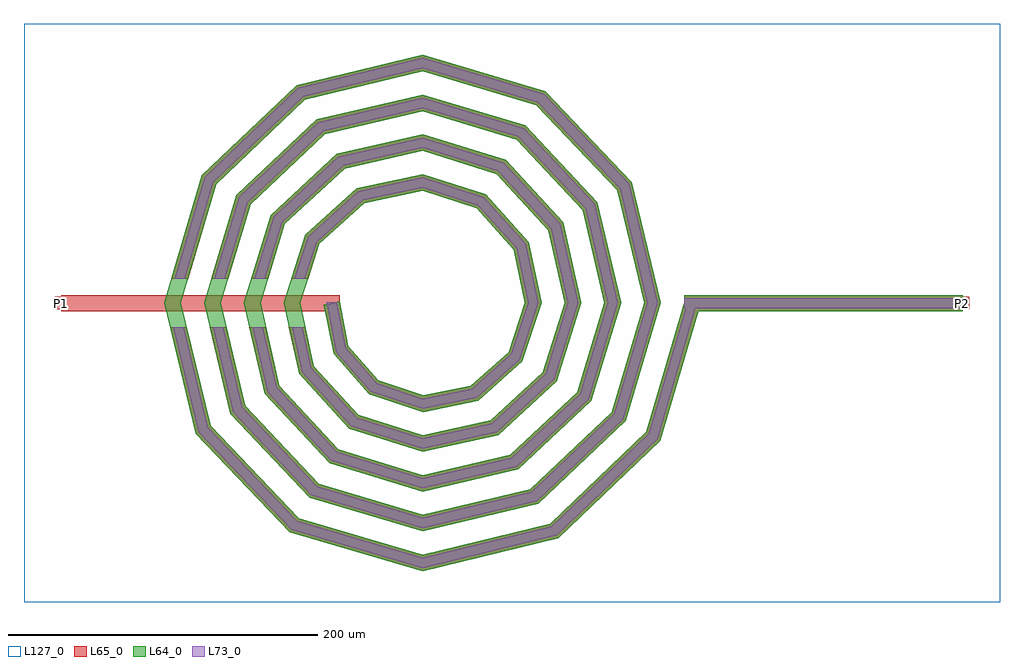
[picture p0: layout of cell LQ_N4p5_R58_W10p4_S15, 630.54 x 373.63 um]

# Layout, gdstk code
import gdstk
lib = gdstk.Library(unit=1e-6, precision=1e-09)
def R(c, l, rs):  # rectangles x0, y0, x1, y1
    for r in rs: c.add(gdstk.rectangle(r[:2], r[2:], *l))
def P(c, l, *ps):  # polygons
    for p in ps: c.add(gdstk.Polygon(p, *l))
L64_0 = (64, 0)
L65_0 = (65, 0)
L73_0 = (73, 0)
L127_0 = (127, 0)

lq_n4p5_r58_w10p4_s15 = lib.new_cell('LQ_N4p5_R58_W10p4_S15')
R(lq_n4p5_r58_w10p4_s15, L64_0, [(169.078,-5.2,349.078,5.2)])
P(lq_n4p5_r58_w10p4_s15, L64_0, [(-47.83,-28.022),(-28.491,-50.031),(0.33,-59.714),(31.204,-53.408),(55.576,-31.729),(66.135,0.3),(58.983,34.391),(34.963,61.124),(0.276,72.557),(-37.581,64.556),(-66.675,38.193),(-78.979,0.255),(-70.128,-40.775),(-41.42,-72.227),(0.237,-85.401),(43.971,-75.698),(77.781,-44.646),(91.824,0.221),(81.268,47.17),(47.869,83.336),(0.207,98.246),(-50.37,86.836),(-88.891,51.091),(-104.669,0.195),(-92.404,-53.571),(-54.312,-94.448),(0.185,-111.091),(56.773,-97.971),(100.005,-57.532),(117.514,0.175),(103.538,59.976),(60.751,105.563),(0.166,123.937),(-63.18,109.105),(-111.121,63.97),(-130.359,0.158),(-114.671,-66.385),(-67.188,-116.679),(0.151,-136.782),(69.591,-120.236),(122.238,-70.405),(143.205,0.145),(125.802,72.796),(73.621,127.797),(0.139,149.627),(-76.003,131.367),(-133.357,76.838),(-156.05,0.133),(-136.932,-79.21),(-80.054,-138.917),(0.128,-162.473),(82.417,-142.497),(144.477,-83.269),(169.288,1.461),(179.269,-1.461),(153.674,-88.868),(87.58,-151.945),(0.128,-173.237),(-85.661,-148.109),(-146.385,-84.364),(-166.814,0.133),(-142.544,82.454),(-81.148,140.826),(0.139,160.391),(79.247,136.979),(135.266,77.931),(153.968,0.145),(131.413,-76.041),(74.714,-129.707),(0.151,-147.545),(-72.835,-125.847),(-124.147,-71.497),(-141.122,0.158),(-120.281,69.63),(-68.278,118.589),(0.166,134.699),(66.425,114.714),(113.03,65.06),(128.276,0.175),(109.147,-63.222),(61.84,-107.472),(0.185,-121.853),(-60.019,-103.579),(-101.915,-58.619),(-115.429,0.195),(-98.011,56.817),(-55.398,96.358),(0.207,109.006),(53.616,92.442),(90.802,52.175),(102.583,0.221),(86.872,-50.417),(48.95,-85.246),(0.237,-96.159),(-47.219,-81.301),(-79.692,-45.723),(-89.736,0.255),(-75.728,44.024),(-42.494,74.139),(0.276,83.312),(40.831,70.154),(68.587,39.262),(76.888,0.3),(64.578,-37.641),(36.026,-63.038),(0.33,-70.464),(-34.456,-58.998),(-57.49,-32.784),(-63.767,-1.008),(-53.564,1.008)])
R(lq_n4p5_r58_w10p4_s15, L65_0, [(-233.466,-5.2,-53.466,5.2), (169.078,-5.2,349.078,5.2), (-237.466,-4,-229.466,4), (345.078,-4,353.078,4)])
P(lq_n4p5_r58_w10p4_s15, L65_0, [(-136.932,-79.21),(-80.054,-138.917),(0.128,-162.473),(82.417,-142.497),(144.477,-83.269),(169.288,1.461),(179.269,-1.461),(153.674,-88.868),(87.58,-151.945),(0.128,-173.237),(-85.661,-148.109),(-146.385,-84.364),(-163.011,-15.6),(-152.311,-15.6)],
  [(-114.671,-66.385),(-67.188,-116.679),(0.151,-136.782),(69.591,-120.236),(122.238,-70.405),(143.205,0.145),(125.802,72.796),(73.622,127.798),(0.139,149.628),(-76.003,131.367),(-133.357,76.838),(-151.412,15.6),(-162.254,15.6),(-142.544,82.454),(-81.148,140.826),(0.139,160.391),(79.247,136.979),(135.266,77.931),(153.968,0.145),(131.413,-76.041),(74.714,-129.707),(0.151,-147.545),(-72.835,-125.847),(-124.148,-71.497),(-137.389,-15.6),(-126.701,-15.6)],
  [(-92.404,-53.571),(-54.312,-94.448),(0.185,-111.091),(56.773,-97.971),(100.005,-57.532),(117.514,0.175),(103.538,59.976),(60.751,105.563),(0.166,123.937),(-63.18,109.105),(-111.121,63.97),(-125.632,15.6),(-136.49,15.6),(-120.281,69.63),(-68.278,118.589),(0.166,134.699),(66.425,114.714),(113.03,65.06),(128.276,0.175),(109.147,-63.222),(61.84,-107.472),(0.185,-121.853),(-60.019,-103.579),(-101.915,-58.619),(-111.8,-15.6),(-101.129,-15.6)],
  [(-70.128,-40.775),(-41.42,-72.227),(0.237,-85.401),(43.971,-75.698),(77.781,-44.646),(91.824,0.221),(81.268,47.17),(47.869,83.336),(0.207,98.246),(-50.37,86.836),(-88.891,51.091),(-99.81,15.6),(-110.691,15.6),(-98.011,56.817),(-55.398,96.358),(0.207,109.006),(53.616,92.442),(90.802,52.175),(102.583,0.221),(86.872,-50.417),(48.95,-85.246),(0.237,-96.159),(-47.219,-81.301),(-79.692,-45.723),(-86.272,-15.6),(-75.627,-15.6)],
  [(-28.491,-50.031),(0.33,-59.714),(31.204,-53.408),(55.576,-31.729),(66.135,0.3),(58.983,34.391),(34.963,61.124),(0.276,72.557),(-37.581,64.556),(-66.675,38.193),(-73.905,15.6),(-84.825,15.6),(-75.728,44.024),(-42.494,74.139),(0.276,83.312),(40.831,70.154),(68.587,39.262),(76.888,0.3),(64.578,-37.641),(36.026,-63.038),(0.33,-70.464),(-34.457,-58.998),(-57.491,-32.784),(-63.767,-1.008),(-53.565,1.008),(-47.83,-28.023)])
R(lq_n4p5_r58_w10p4_s15, L73_0, [(169.078,-3.2,349.078,3.2)])
P(lq_n4p5_r58_w10p4_s15, L73_0, [(-138.75,-80.201),(-81.132,-140.684),(0.079,-164.543),(83.41,-144.314),(146.245,-84.346),(171.207,0.899),(177.349,0.899),(151.905,-87.791),(86.587,-150.128),(0.079,-171.167),(-84.582,-146.341),(-144.567,-83.373),(-160.953,-15.6),(-154.369,-15.6)],
  [(-116.493,-67.368),(-68.274,-118.442),(0.093,-138.852),(70.576,-122.058),(124.003,-71.489),(145.275,0.089),(127.622,73.784),(74.703,129.563),(0.085,151.698),(-76.992,133.186),(-135.124,77.918),(-153.497,15.6),(-160.169,15.6),(-140.777,81.374),(-80.158,139.007),(0.085,158.321),(78.165,135.213),(133.446,76.944),(151.898,0.089),(129.649,-74.957),(73.729,-127.885),(0.093,-145.475),(-71.749,-124.084),(-122.325,-70.514),(-135.334,-15.6),(-128.757,-15.6)],
  [(-94.233,-54.542),(-55.41,-96.204),(0.114,-113.161),(57.747,-99.798),(101.763,-58.626),(119.584,0.108),(105.364,60.954),(61.843,107.323),(0.102,126.006),(-64.161,110.928),(-112.882,65.058),(-127.72,15.6),(-134.402,15.6),(-118.519,68.542),(-67.298,116.765),(0.102,132.629),(65.334,112.954),(111.205,64.082),(126.206,0.108),(107.389,-62.128),(60.866,-105.645),(0.114,-119.783),(-58.921,-101.823),(-100.086,-57.649),(-109.748,-15.6),(-103.181,-15.6)],
  [(-71.967,-41.727),(-42.536,-73.972),(0.146,-87.47),(44.929,-77.534),(79.529,-45.756),(93.893,0.136),(83.101,48.132),(48.974,85.087),(0.128,100.315),(-51.337,88.667),(-90.645,52.192),(-101.902,15.6),(-108.598,15.6),(-96.257,55.716),(-54.431,94.527),(0.128,106.937),(52.511,90.691),(88.968,51.212),(100.514,0.136),(85.124,-49.307),(47.993,-83.41),(0.146,-94.091),(-46.104,-79.556),(-77.853,-44.772),(-84.225,-15.6),(-77.674,-15.6)],
  [(-29.639,-51.755),(0.203,-61.781),(32.131,-55.26),(57.307,-32.866),(68.203,0.185),(60.83,35.327),(36.091,62.861),(0.17,74.625),(-38.526,66.399),(-68.416,39.314),(-76.005,15.6),(-82.725,15.6),(-73.987,42.902),(-41.549,72.296),(0.17,81.244),(39.702,68.418),(66.74,38.325),(74.82,0.185),(62.847,-36.505),(35.099,-61.186),(0.203,-68.396),(-33.309,-57.274),(-55.633,-31.869),(-61.805,0.62),(-55.527,0.62),(-49.688,-28.938)])
R(lq_n4p5_r58_w10p4_s15, L127_0, [(-257.466,-193.237,373.078,180.391)])
lq_n4p5_r58_w10p4_s15.add(gdstk.Label('P2', (349.078,0), layer=65, texttype=0))
lq_n4p5_r58_w10p4_s15.add(gdstk.Label('P1', (-233.466,0), layer=65, texttype=0))
lq_n4p5_r58_w10p4_s15.add(gdstk.Label('P2', (353.078,0), layer=145, texttype=0))
lq_n4p5_r58_w10p4_s15.add(gdstk.Label('P1', (-237.466,0), layer=145, texttype=0))

lib.write_gds('LQ_N4p5_R58_W10p4_S15.gds')
